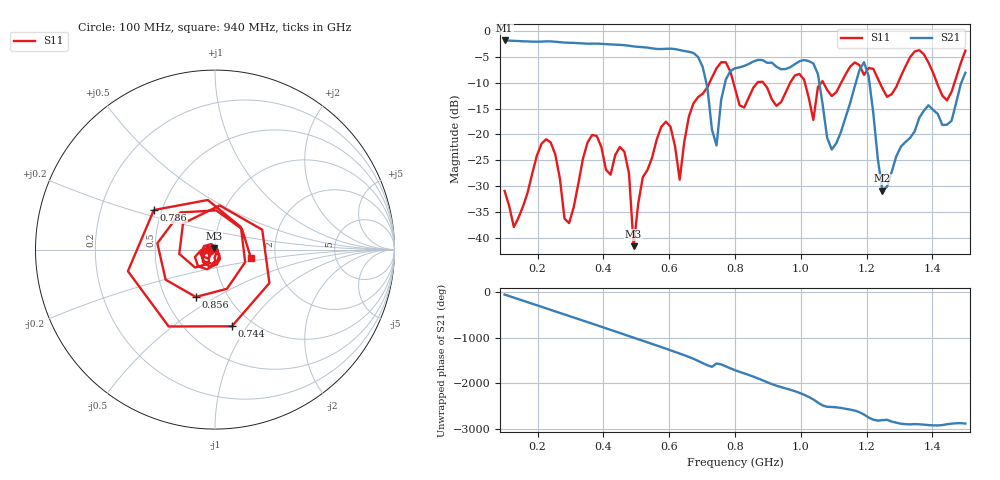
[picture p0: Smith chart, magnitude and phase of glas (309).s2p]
! NanoVNA-App
! Date: 2025-09-25 15:57:53
! Start: 100MHz Stop: 1,5GHz Points: 101
! S-Parameter data: F S11 S21 S12 S22
# Hz S RI R 50
!  Frequency  S11_Real  S11_Imag  S21_Real  S21_Imag  S12_Real  S12_Imag  S22_Real  S22_Imag
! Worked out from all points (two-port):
!   101 points, 100 MHz to 1.5 GHz, reference 50 ohm
!   highest |S21| = -1.80 dB at 100 MHz (marker M1); lowest = -30.9 dB at 1.248 GHz (marker M2)
!   |S21| within 3 dB of the highest: start of sweep to 684.3 MHz
!   lowest |S11| = -41.6 dB at 492 MHz (marker M3), VSWR 1.02, Z = 49.5 + j0.622 ohm
!   |S11| at or under -10 dB: start of sweep to 722.5 MHz; 795.3 MHz to 867.9 MHz (72.57 MHz wide, 8.73 % of centre); 886.3 MHz to 967.6 MHz (81.3 MHz wide, 8.77 % of centre) (the widest 3 of 7)
!   S12 and S22 are empty: the file has one direction only
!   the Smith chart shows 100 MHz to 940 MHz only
!   S11 on the Smith chart (normalised r, x): 100 MHz: 0.95, -0.01; 744 MHz: 0.81, -0.85; 786 MHz: 0.45, +0.24; 856 MHz: 0.71, -0.41; 940 MHz: 1.49, -0.15
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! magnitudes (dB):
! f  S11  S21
! 100 MHz  -30.9  -1.8
! 128 MHz  -37.9  -1.9
! 226 MHz  -20.9  -2.0
! 296 MHz  -37.2  -2.2
! 338 MHz  -24.7  -2.4
! 464 MHz  -23.4  -2.7
! 492 MHz  -41.6  -3.0
! 576 MHz  -18.5  -3.5
! 632 MHz  -28.8  -3.7
! 702 MHz  -12.1  -7.0
! 744 MHz  -7.2  -22.1
! 786 MHz  -7.8  -7.7
! 800 MHz  -11.1  -7.2
! 856 MHz  -10.9  -5.9
! 940 MHz  -13.7  -7.4
! 1.038 GHz  -17.2  -6.2
! 1.094 GHz  -12.6  -22.9
! 1.192 GHz  -8.5  -6.0
! 1.248 GHz  -11.1  -30.9
! 1.276 GHz  -12.2  -27.3
! 1.444 GHz  -13.4  -18.1
! 1.5 GHz  -3.8  -8.1
